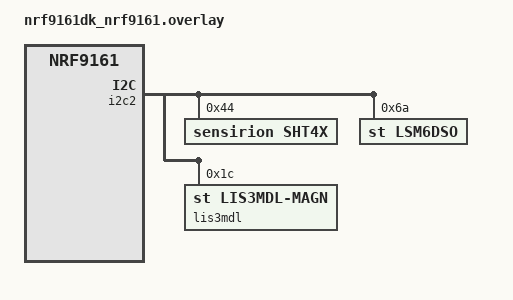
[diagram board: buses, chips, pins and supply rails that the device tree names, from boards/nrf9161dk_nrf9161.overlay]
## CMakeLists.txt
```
cmake_minimum_required(VERSION 3.13.1)

find_package(Zephyr REQUIRED HINTS $ENV{ZEPHYR_BASE})

project(cores-control LANGUAGES C)

FILE(GLOB app_sources src/*.c)

target_sources(app PRIVATE ${app_sources})

add_subdirectory_ifdef(CONFIG_SENSE_CORE_SENSORS src/sensors)

add_subdirectory(src/datapoint)
add_subdirectory(src/sd_card)
add_subdirectory(src/remote_commands)
```

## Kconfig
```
menu "Zephyr"
source "Kconfig.zephyr"
endmenu

menu "SENSE IoT Control Core"

rsource "src/sensors/Kconfig"
rsource "src/sd_card/Kconfig"

endmenu
```

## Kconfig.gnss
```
#
# Copyright (c) 2020 Nordic Semiconductor ASA
#
# SPDX-License-Identifier: LicenseRef-Nordic-5-Clause
#

menu "GNSS Settings"

config APP_USE_GNSS
	bool "Enable the GNSS module."
	default "y"

config APP_GNSS_DEFAULT_FIX_INTERVAL
	int "Fix interval for periodic fixes"
	range 10 65535
	default 120
	help
	  Fix interval (in seconds) for periodic fixes.

config APP_GNSS_DEFAULT_PERIODIC_TIMEOUT
	int "Fix timeout for periodic fixes"
	range 0 65535
	default 60
	help
	  Fix timeout (in seconds) for periodic fixes.
	  If set to zero, GNSS is allowed to run indefinitely until a valid PVT estimate is produced.

module = APP_GNSS
module-str = Control core GNSS module
source "${ZEPHYR_BASE}/subsys/logging/Kconfig.template.log_config"

endmenu
```

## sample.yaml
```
sample:
  description: SENSE Control Core
  name: cores-control
common:
  sysbuild: true
  build_only: true
  integration_platforms:
    - sense_core/nrf9161/ns
  extra_overlay_confs:
    - rtt.conf
tests:
  app.default:
    build_only: true
  app.debug:
    build_only: true
    extra_overlay_confs:
      - debug.conf
```

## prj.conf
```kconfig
CONFIG_CBPRINTF_FP_SUPPORT=y
CONFIG_I2C=y
CONFIG_SENSOR=y

CONFIG_SHELL=y

CONFIG_HEARTBEAT=y

CONFIG_ICMP=y
CONFIG_ICMP_PHY_UART=y
CONFIG_ICMP_LOG_LEVEL_OFF=y

CONFIG_CZD=y
CONFIG_CZD_DATAPOINT=y
CONFIG_CZD_COMMAND=y

CONFIG_CELLULAR=y
CONFIG_CELLULAR_BACKEND_NRF=y
CONFIG_CELLULAR_THREAD_STACK_SIZE=2048
CONFIG_CELLULAR_LOG_LEVEL_INF=y
CONFIG_REMOTE_SERVER_HOSTNAME="demo.snse.dev"
CONFIG_REMOTE_SERVER_PORT=5683

CONFIG_COAP_LIB=y

# -------- GNSS ---------
# General
CONFIG_FPU=y
CONFIG_NRF_MODEM_LIB=y
CONFIG_STDOUT_CONSOLE=y
CONFIG_PICOLIBC_IO_FLOAT=y

# LTE Link Control
CONFIG_LTE_LINK_CONTROL=y
# Request eDRX from the network
CONFIG_LTE_LC_EDRX_MODULE=y
CONFIG_LTE_EDRX_REQ=y
# PSM requested periodic TAU 8 hours
CONFIG_LTE_LC_PSM_MODULE=y
CONFIG_LTE_PSM_REQ_RPTAU="00101000"
# PSM requested active time 6 seconds
CONFIG_LTE_PSM_REQ_RAT="00000011"

# Networking
CONFIG_NETWORKING=y
CONFIG_NET_SOCKETS_OFFLOAD=y
CONFIG_NET_SOCKETS=y
CONFIG_POSIX_API=y

# Disable native network stack to save some memory
CONFIG_NET_NATIVE=n

# Time
CONFIG_DATE_TIME=y
CONFIG_DATE_TIME_NTP=y

# Memory and stack configuration
CONFIG_HEAP_MEM_POOL_SIZE=2048
CONFIG_MAIN_STACK_SIZE=4096
CONFIG_SYSTEM_WORKQUEUE_STACK_SIZE=4096
```

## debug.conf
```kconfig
# Debugging
CONFIG_DEBUG_OPTIMIZATIONS=y
CONFIG_CORTEX_M_DEBUG_MONITOR_HOOK=y
CONFIG_SEGGER_DEBUGMON=y
CONFIG_DEBUG_THREAD_INFO=y

# Logging
CONFIG_LOG=y
CONFIG_SENSOR_LOG_LEVEL_INF=y
```

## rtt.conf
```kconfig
# RTT
CONFIG_USE_SEGGER_RTT=y
CONFIG_CONSOLE=y
CONFIG_RTT_CONSOLE=y
CONFIG_UART_CONSOLE=n
CONFIG_SHELL_BACKEND_RTT=y
CONFIG_ASSERT=y
```

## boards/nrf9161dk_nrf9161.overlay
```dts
/ {
	aliases {
		heartbeat-gpio = &led0;
	};

};

&i2c2 {
    // SHT40
	sht4x@44 {
		status = "okay";
		compatible = "sensirion,sht4x";
		reg = <0x44>;
		repeatability = <2>;
	};

	lsm6dso: lsm6dso@6a {
		compatible = "st,lsm6dso";
		reg = <0x6a>;
	};

	lis3mdl: lis3mdl@1c {
		compatible = "st,lis3mdl-magn";
		reg = <0x1c>;
	};
};
```

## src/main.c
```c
#include <stdint.h>
#include <zephyr/kernel.h>
#include <zephyr/device.h>
#include <zephyr/drivers/sensor.h>
#include <zephyr/logging/log.h>

#include <app_version.h>
#include <zephyr/drivers/sensor/sht4x.h>

#include <lib/icmp.h>
#include <lib/heartbeat.h>
#include <lib/cellular.h>

#include <sd_card.h>

#include "state.h"

#ifdef CONFIG_SENSE_CORE_SENSORS
#include "sensors/sensors.h"
#endif /* CONFIG_SENSE_CORE_SENSORS */

#include <remote_commands.h>

LOG_MODULE_REGISTER(main, LOG_LEVEL_ERR);

#ifdef CONFIG_ICMP
void icmp_test_cb(const uint8_t *payload, size_t payload_len)
{
    LOG_INF("ICMP payload received: %s", payload);
}
#endif /* CONFIG_ICMP */

int main(void)
{
	printk("SENSE Control Core version %s\n", APP_VERSION_STRING);

    struct state *state = state_get();

    state_lock(K_FOREVER);

#ifdef CONFIG_HEARTBEAT
    /* Initialise and start the heartbeat */
    if (heartbeat_init_start(K_MSEC(CONFIG_HEARTBEAT_DEFAULT_DURATION))) {
        LOG_ERR("Failed to initialise heartbeat.");
        state->heartbeat_state = INIT_FAILED;
    }
    state->heartbeat_state = OK;

#endif /* CONFIG_HEARTBEAT */

    state_unlock();

#ifdef CONFIG_SD_CARD_WRITER
    sd_writer_init();
#endif /* CONFIG_SD_CARD_WRITER */

#ifdef CONFIG_SENSE_CORE_SENSORS
    sensors_init();
#endif

#ifdef CONFIG_CELLULAR
    if (cellular_init(remote_commands_handle_packet) != 0) {
        LOG_ERR("Cellular init failed");
    }
#endif

    remote_commands_init();

#ifdef CONFIG_ICMP
    icmp_register_target(0, icmp_test_cb);
    icmp_init();

    uint8_t payload[6] = {'n', 'r', 'f', '9', '1', '\0'};
#endif /* CONFIG_ICMP */

    while (1) {

#ifdef CONFIG_ICMP
        /* Send icmp notification */
        icmp_notify(0, payload, 6);
#endif /* CONFIG_ICMP */

        k_sleep(K_MSEC(1000));
    }

    return 0;
}
```

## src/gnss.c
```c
#include <zephyr/kernel.h>
#include <zephyr/logging/log.h>
#include <nrf_modem_gnss.h>
#include <modem/lte_lc.h>
#include <modem/nrf_modem_lib.h>

#include "state.h"

#ifdef CONFIG_APP_USE_GNSS

LOG_MODULE_REGISTER(gnss, CONFIG_APP_GNSS_LOG_LEVEL);

static struct nrf_modem_gnss_pvt_data_frame last_pvt;

/* Internal state tracking */
#define GNSS_STATE_SEARCH   0
#define GNSS_STATE_SLEEP   1

static volatile uint8_t gnss_internal_state = GNSS_STATE_SEARCH;

/* Use a semaphore to signal GNSS data availability */
static K_SEM_DEFINE(pvt_data_sem, 0, 1);

static void gnss_event_handler(int event)
{
    int retval;

    switch (event) {
    /* The EVT_PVT event is sent every second while the modem is running. */
    case NRF_MODEM_GNSS_EVT_PVT:
        retval = nrf_modem_gnss_read(&last_pvt, sizeof(last_pvt),
                                     NRF_MODEM_GNSS_DATA_PVT);
        if (retval == 0)
            k_sem_give(&pvt_data_sem);
        break;

    /* The EVT_FIX event is sent only when a fix is acquired. */
    case NRF_MODEM_GNSS_EVT_FIX:
        retval = nrf_modem_gnss_read(&last_pvt, sizeof(last_pvt),
                                     NRF_MODEM_GNSS_DATA_PVT);
        if (retval == 0)
            k_sem_give(&pvt_data_sem);
        break;

    case NRF_MODEM_GNSS_EVT_PERIODIC_WAKEUP:
        LOG_INF("GNSS modem waking from periodic sleep.");
        gnss_internal_state = GNSS_STATE_SEARCH;
        break;

    case NRF_MODEM_GNSS_EVT_SLEEP_AFTER_TIMEOUT:
        LOG_INF("GNSS modem sleeping after periodic mode fix timeout.");
        gnss_internal_state = GNSS_STATE_SLEEP;
        break;

    case NRF_MODEM_GNSS_EVT_SLEEP_AFTER_FIX:
        LOG_INF("GNSS modem sleeping after periodic mode fix acquired.");
        gnss_internal_state = GNSS_STATE_SLEEP;
        break;

    default:
        break;
    }
}

static int gnss_init_and_start(struct state *state)
{
    if (lte_lc_func_mode_set(LTE_LC_FUNC_MODE_ACTIVATE_GNSS) != 0) {
        LOG_ERR("Failed to activate GNSS functional mode");
        return -1;
    }

    if (nrf_modem_gnss_event_handler_set(gnss_event_handler) != 0) {
        LOG_ERR("Failed to set GNSS event handler");
        return -1;
    }

    /* This use case flag is required by default. */
    uint8_t use_case = NRF_MODEM_GNSS_USE_CASE_MULTIPLE_HOT_START;

    if (nrf_modem_gnss_use_case_set(use_case) != 0) {
        LOG_WRN("Failed to set GNSS use case");
    }

    state->gnss_fix_retry_period = CONFIG_APP_GNSS_DEFAULT_PERIODIC_TIMEOUT;
    state->gnss_fix_interval = CONFIG_APP_GNSS_DEFAULT_FIX_INTERVAL;

    /* Give the GNSS receiver fix_retry seconds to find a fix.
     * NOTE: Until the modem finds its first fix, the fix_retry period will
     * remain 60 seconds. If the value is set to 0, then it will search
     * indefinitely*/
    if (nrf_modem_gnss_fix_retry_set(state->gnss_fix_retry_period) != 0) {
        LOG_ERR("Failed to set GNSS fix retry");
        return -1;
    }

    /* Look for a fix every fix_interval seconds.
     * NOTE: it appears that if the the first fix hasn't been found, then
     * the fix interval time is given by:
     *     next_wake_time = current_time + (fix_interval - fix_retry)
     * Otherwise, the modem appears to respect the fix interval, with some
     * understandable RTC skew */
    if (nrf_modem_gnss_fix_interval_set(state->gnss_fix_interval) != 0) {
        LOG_ERR("Failed to set GNSS fix interval");
        return -1;
    }

    state->gnss_last_update_time = 0;

    if (nrf_modem_gnss_start() != 0) {
        LOG_ERR("Failed to start GNSS");
        return -1;
    }

    return 0;
}

static void log_satellite_stats(struct nrf_modem_gnss_pvt_data_frame *pvt_data)
{
    uint8_t tracked   = 0;
    uint8_t in_fix    = 0;
    uint8_t unhealthy = 0;

    for (int i = 0; i < NRF_MODEM_GNSS_MAX_SATELLITES; ++i) {
        if (pvt_data->sv[i].sv > 0) {
            tracked++;

            if (pvt_data->sv[i].flags & NRF_MODEM_GNSS_SV_FLAG_USED_IN_FIX) {
                in_fix++;
            }

            if (pvt_data->sv[i].flags & NRF_MODEM_GNSS_SV_FLAG_UNHEALTHY) {
                unhealthy++;
            }
        }
    }
    LOG_DBG("Tracking: %2d Using: %2d Unhealthy: %d\n",
            tracked, in_fix, unhealthy);
}

static void process_fix_data(struct nrf_modem_gnss_pvt_data_frame *pvt_data,
                             struct state *s)
{
    /* Push PVT data to system state struct */
    s->gnss_latitude = pvt_data->latitude;
    s->gnss_longitude = pvt_data->longitude;
    s->gnss_accuracy = pvt_data->accuracy;
    s->gnss_altitude = pvt_data->altitude;
    s->gnss_altitude_accuracy = pvt_data->altitude_accuracy;
    s->gnss_speed = pvt_data->speed;
    s->gnss_speed_accuracy = pvt_data->speed_accuracy;
    s->gnss_vertical_speed = pvt_data->vertical_speed;
    s->gnss_vertical_speed_accuracy = pvt_data->vertical_speed_accuracy;
    s->gnss_heading = pvt_data->heading;
    s->gnss_heading_accuracy = pvt_data->heading_accuracy;

    LOG_INF("Latitude           %.06f", pvt_data->latitude);
    LOG_INF("Longitude:         %.06f", pvt_data->longitude);
    LOG_INF("Accuracy:          %.01f m", (double)pvt_data->accuracy);
    LOG_DBG("Altitude:          %.01f m", (double)pvt_data->altitude);
    LOG_DBG("Altitude accuracy: %.01f m", (double)pvt_data->altitude_accuracy);
    LOG_DBG("Speed:             %.01f m/s", (double)pvt_data->speed);
    LOG_DBG("Speed accuracy:    %.01f m/s", (double)pvt_data->speed_accuracy);
    LOG_DBG("V. speed:          %.01f m/s", (double)pvt_data->vertical_speed);
    LOG_DBG("V. speed accuracy: %.01f m/s", (double)pvt_data->vertical_speed_accuracy);
    LOG_DBG("Heading:           %.01f deg", (double)pvt_data->heading);
    LOG_DBG("Heading accuracy:  %.01f deg", (double)pvt_data->heading_accuracy);
    LOG_DBG("Date:              %04u-%02u-%02u",
           pvt_data->datetime.year,
           pvt_data->datetime.month,
           pvt_data->datetime.day);
    LOG_DBG("Time (UTC):        %02u:%02u:%02u.%03u",
           pvt_data->datetime.hour,
           pvt_data->datetime.minute,
           pvt_data->datetime.seconds,
           pvt_data->datetime.ms);
}

int gnss_init(struct state *state)
{
    int err;

    LOG_INF("Initialsing GNSS");

    err = nrf_modem_lib_init();
    if (err) {
        LOG_ERR("Modem library initialisation failed, error: %d", err);
        return err;
    }

    if (gnss_init_and_start(state) != 0) {
        LOG_ERR("Failed to initialise and start GNSS");
        return -1;
    }

    return 0;
}

void poll_gnss(struct state *state)
{
    if (gnss_internal_state == GNSS_STATE_SLEEP)
        return;

    while (k_sem_take(&pvt_data_sem, K_NO_WAIT) == 0) {
        log_satellite_stats(&last_pvt);

        if (last_pvt.flags & NRF_MODEM_GNSS_PVT_FLAG_FIX_VALID) {
            LOG_INF("Updating GNSS data.");
            process_fix_data(&last_pvt, state);
            state->gnss_last_update_time = k_uptime_get();
        } else if (last_pvt.flags & NRF_MODEM_GNSS_PVT_FLAG_SCHED_DOWNLOAD) {
            LOG_INF("GNSS scheduled download in progress.");
        } else if (last_pvt.flags & NRF_MODEM_GNSS_PVT_FLAG_DEADLINE_MISSED) {
            LOG_WRN("GNSS operation blocked by LTE\n");
        } else if (last_pvt.flags & NRF_MODEM_GNSS_PVT_FLAG_NOT_ENOUGH_WINDOW_TIME) {
            LOG_WRN("Insufficient GNSS time windows\n");
        } else {
            LOG_INF("GNSS attempting to acquire fix...");
        }
    }
}

#endif /* CONFIG_APP_USE_GNSS */
```

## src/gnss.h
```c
#ifndef GNSS_H_
#define GNSS_H_

#include "state.h"

#ifdef CONFIG_APP_USE_GNSS
int gnss_init(struct state *state);

void poll_gnss(struct state *state);
#endif /* CONFIG_APP_USE_GNSS */

#endif /* GNSS_H_ */
```

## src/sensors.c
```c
#include <zephyr/kernel.h>
#include <zephyr/device.h>
#include <zephyr/drivers/sensor.h>
#include <zephyr/logging/log.h>

#include "sensors.h"
#include "state.h"

#ifdef CONFIG_APP_USE_SENSORS

LOG_MODULE_REGISTER(sensors, CONFIG_APP_LOG_LEVEL);

#ifdef CONFIG_APP_USE_SHT40
#include <zephyr/drivers/sensor/sht4x.h>

#if !DT_HAS_COMPAT_STATUS_OKAY(sensirion_sht4x)
#error "No sensirion,sht4x compatible node found in the device tree"
#endif

const struct device *const sht = DEVICE_DT_GET_ANY(sensirion_sht4x);
#endif

#ifdef CONFIG_APP_USE_IMU

#if !DT_HAS_COMPAT_STATUS_OKAY(st_lsm6dso)
#error "No st,lsm6dso compatible node found in the device tree"
#endif

#if !DT_HAS_COMPAT_STATUS_OKAY(st_lis3mdl_magn)
#error "No st,lis3mdl compatible node found in the device tree"
#endif

const struct device *const lsm = DEVICE_DT_GET_ANY(st_lsm6dso);
const struct device *const lis = DEVICE_DT_GET_ANY(st_lis3mdl_magn);
#endif

K_MSGQ_DEFINE(sensor_msgq, sizeof(struct sensor_reading), 5, 1);

#ifdef CONFIG_APP_USE_SHT40
int sht4x_init(void)
{
    if (!device_is_ready(sht)) {
		LOG_ERR("Device %s is not ready.", sht->name);
        return 1;
    }

    return 0;
}

void sht4x_poll_work_handler(struct k_work *work)
{
    struct sensor_value temp, hum;
    struct sensor_reading sr = {0};
    int err = 0;

    sr.type = SENSOR_PKT_SHT;

    err = sensor_sample_fetch(sht);
    if (err != 0) {
        LOG_ERR("Failed to fetch sample from SHT4X device");
        goto fail;
    }

    sensor_channel_get(sht, SENSOR_CHAN_AMBIENT_TEMP, &temp);
    sensor_channel_get(sht, SENSOR_CHAN_HUMIDITY, &hum);

    sr.temp = sensor_value_to_double(&temp),
    sr.hum = sensor_value_to_double(&hum);

    k_msgq_put(&sensor_msgq, &sr, K_NO_WAIT);
    return;

fail:
    sr.err = 1;
    k_msgq_put(&sensor_msgq, &sr, K_NO_WAIT);
    return;
}

K_WORK_DEFINE(sht4x_poll_work, sht4x_poll_work_handler);

void sht4x_poll(void)
{
    k_work_submit(&sht4x_poll_work);
}
#endif /* CONFIG_APP_USE_SHT40 */

#ifdef CONFIG_APP_USE_IMU
int imu_init(void)
{
    if (!device_is_ready(lsm)) {
		LOG_ERR("Device %s is not ready.", lsm->name);
        return 1;
    }

    if (!device_is_ready(lis)) {
		LOG_ERR("Device %s is not ready.", lis->name);
        return 1;
	}

    return 0;
}

/** NOTE: lis3mdl does not support runtime ODR changes. Instead it is
 *  configured via Kconfig CONFIG_LIS3MDL_ODR. I may patch the driver and
 *  add support for this when I get the chance.
 */
int imu_set_sampling_frequency(double freq)
{
    int err = 0;
    struct sensor_value imu_freq;
    sensor_value_from_double(&imu_freq, freq);

    err = sensor_attr_set(lsm,
                          SENSOR_CHAN_ACCEL_XYZ,
                          SENSOR_ATTR_SAMPLING_FREQUENCY,
                          &imu_freq);
    if (err != 0) {
        LOG_ERR("Cannot set accelerometer sampling frequency.");
        return err;
    }

    err = sensor_attr_set(lsm,
                          SENSOR_CHAN_GYRO_XYZ,
                          SENSOR_ATTR_SAMPLING_FREQUENCY,
                          &imu_freq);
    if (err != 0) {
        LOG_ERR("Cannot set gyroscope sampling frequency.");
        return err;
    }

    return 0;
}

void imu_poll_work_handler(struct k_work *work)
{
    struct sensor_value x, y, z;
    struct sensor_reading sr = {0};
    int err = 0;

    sr.type = SENSOR_PKT_IMU;

    err = sensor_sample_fetch_chan(lsm, SENSOR_CHAN_ACCEL_XYZ);
    if (err != 0) {
        LOG_ERR("Failed to fetch accelerometer channel from LSM6DSO device");
        goto fail;
    }

    sensor_channel_get(lsm, SENSOR_CHAN_ACCEL_X, &x);
    sensor_channel_get(lsm, SENSOR_CHAN_ACCEL_Y, &y);
    sensor_channel_get(lsm, SENSOR_CHAN_ACCEL_Z, &z);

    sr.accel_x = sensor_value_to_double(&x);
    sr.accel_y = sensor_value_to_double(&y);
    sr.accel_z = sensor_value_to_double(&z);

    err = sensor_sample_fetch_chan(lsm, SENSOR_CHAN_GYRO_XYZ);
    if (err != 0) {
        LOG_ERR("Failed to fetch gyroscope channel from LSM6DSO device");
        goto fail;
    }

    sensor_channel_get(lsm, SENSOR_CHAN_GYRO_X, &x);
    sensor_channel_get(lsm, SENSOR_CHAN_GYRO_Y, &y);
    sensor_channel_get(lsm, SENSOR_CHAN_GYRO_Z, &z);

    sr.gyro_x = sensor_value_to_double(&x);
    sr.gyro_y = sensor_value_to_double(&y);
    sr.gyro_z = sensor_value_to_double(&z);

    err = sensor_sample_fetch_chan(lis, SENSOR_CHAN_MAGN_XYZ);
    if (err != 0) {
        LOG_ERR("Failed to fetch magnetometer channel from LIS3MDL device");
        goto fail;
    }

    sensor_channel_get(lis, SENSOR_CHAN_MAGN_X, &x);
    sensor_channel_get(lis, SENSOR_CHAN_MAGN_Y, &y);
    sensor_channel_get(lis, SENSOR_CHAN_MAGN_Z, &z);

    sr.mag_x = sensor_value_to_double(&x);
    sr.mag_y = sensor_value_to_double(&y);
    sr.mag_z = sensor_value_to_double(&z);

    k_msgq_put(&sensor_msgq, &sr, K_NO_WAIT);
    return;

fail:
    sr.err = 1;
    k_msgq_put(&sensor_msgq, &sr, K_NO_WAIT);
    return;
}

K_WORK_DEFINE(imu_poll_work, imu_poll_work_handler);

void imu_poll(void)
{
    k_work_submit(&imu_poll_work);
}
#endif /* CONFIG_APP_USE_IMU */


int sensor_reading_get(void *data, k_timeout_t timeout)
{
    return k_msgq_get(&sensor_msgq, data, timeout);
}

void poll_sensors(struct state *state)
{
    struct sensor_reading sr = {0};
    sr.err = 1;

    /* Attempt to get sensor readings */
    while (sensor_reading_get(&sr, K_NO_WAIT) == 0) {
        if (sr.err)
            LOG_ERR("Error getitng sensor values\n");

#ifdef CONFIG_APP_USE_SHT40
        else if (sr.type == SENSOR_PKT_SHT) {
            state->sht_temp = sr.temp;
            state->sht_hum = sr.hum;
            LOG_INF("SHT state updated.");
            LOG_DBG("SHT40: Temp: %.2f C  RH: %0.2f %%\n",
                    sr.temp, sr.hum);
        }
#endif /* CONFIG_APP_USE_SHT40 */

#ifdef CONFIG_APP_USE_IMU
        else if (sr.type ==  SENSOR_PKT_IMU) {
            state->imu_accel_x = sr.accel_x;
            state->imu_accel_y = sr.accel_y;
            state->imu_accel_z = sr.accel_z;
            state->imu_gyro_x = sr.gyro_x;
            state->imu_gyro_y = sr.gyro_y;
            state->imu_gyro_z = sr.gyro_z;
            state->imu_mag_x = sr.mag_x;
            state->imu_mag_y = sr.mag_y;
            state->imu_mag_z = sr.mag_z;
            LOG_INF("IMU state updated.");
            LOG_DBG("IMU: Accel: x = %.2f  y = %.2f  z = %.2f\n"
                    "      Gyro: x = %.2f  y = %.2f  z = %.2f\n"
                    "       Mag: x = %.2f  y = %.2f  z = %.2f\n",
                    sr.accel_x, sr.accel_y, sr.accel_z,
                    sr.gyro_x, sr.gyro_y, sr.gyro_z,
                    sr.mag_x, sr.mag_y, sr.mag_z);

        }
#endif /* CONFIG_APP_USE_IMU */
    }

#ifdef CONFIG_APP_USE_SHT40
    /* Poll the SHT sensor if it is working and the specified poll duration has
     * passed. Note that the state->sht_last_update_tick corresponds to the
     * last requested update time (subbmission to work queue), and not the time
     * the polling work item was fulfilled */
    if (state->sht_state == OK &&
        k_uptime_get() - state->sht_last_update_tick >= state->sht_poll_freq) {
        LOG_INF("Polling SHT");
        state->sht_last_update_tick = k_uptime_get();
        sht4x_poll();
    }
#endif /* CONFIG_APP_USE_SHT40 */

#ifdef CONFIG_APP_USE_IMU
    /* Poll the IMU sensors if they are working and the specified poll duration
     * has passed. Note that the state->imu_last_update_tick corresponds to the
     * last requested update time (subbmission to work queue), and not the time
     * the polling work item was fulfilled */
    if (state->imu_state == OK &&
        k_uptime_get() - state->imu_last_update_tick >= state->imu_poll_freq) {
        LOG_INF("Polling IMU");
        state->imu_last_update_tick = k_uptime_get();
        imu_poll();
    }
#endif /* CONFIG_APP_USE_IMU */
}

#endif /* CONFIG_APP_USE_SENSORS */
```

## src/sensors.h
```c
#ifndef SENSORS_H_
#define SENSORS_H_

#include <zephyr/kernel.h>

#include "state.h"

#ifdef CONFIG_APP_USE_SENSORS

enum sensor_reading_type {
#ifdef CONFIG_APP_USE_SHT40
    SENSOR_PKT_SHT,
#endif
#ifdef CONFIG_APP_USE_IMU
    SENSOR_PKT_IMU,
#endif
    SENSOR_PKT_INVALID
};

typedef struct sensor_reading {
    int err;
    int type;

#ifdef CONFIG_APP_USE_SHT40
    double hum;
    double temp;
#endif

#ifdef CONFIG_APP_USE_IMU
    double accel_x;
    double accel_y;
    double accel_z;

    double gyro_x;
    double gyro_y;
    double gyro_z;

    double mag_x;
    double mag_y;
    double mag_z;
#endif

} sensor_reading_t;

#ifdef CONFIG_APP_USE_SHT40
int sht4x_init(void);
void sht4x_poll(void);
#endif

#ifdef CONFIG_APP_USE_IMU
int imu_init(void);
int imu_set_sampling_frequency(double freq);
void imu_poll(void);
#endif

int sensor_reading_get(void *data, k_timeout_t timeout);

void poll_sensors(struct state *state);

#endif /* CONFIG_APP_USE_SENSORS */

#endif /* SENSORS_H_ */
```

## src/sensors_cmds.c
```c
#include <stdlib.h>
#include <zephyr/kernel.h>
#include <zephyr/logging/log.h>
#include <zephyr/shell/shell.h>

#include "state.h"

LOG_MODULE_REGISTER(sensors_cmds);

#define UNSUPPORTED_FEATURE_STRING "Feature is not enabled."

/* Macro for early return in shell fns if features are not supported. */
#define RETURN_IF_FEATURE_DISABLED(CONFIG_FEATURE) \
    if (!IS_ENABLED(CONFIG_FEATURE)) { \
        shell_print(sh, UNSUPPORTED_FEATURE_STRING); \
        return 1; \
    }

/* We use a timeout to avoid blocking the shell thread indefinitely, improving
 * the user experience when the system is under heavy load. */
#define SHELL_STATE_LOCK_TIMEOUT   100
#define STATE_LOCK_FAILURE_STRING  "Resource is temporarily unavailable. " \
                                   "Try again shortly."

/* Macro for early return in shell fns if the state mutex is unavailable. */
#define RETURN_IF_STATE_LOCK_FAILED() \
    if (state_lock(K_MSEC(SHELL_STATE_LOCK_TIMEOUT)) != 0) { \
        shell_print(sh, STATE_LOCK_FAILURE_STRING); \
        return 1; \
    }

#ifdef CONFIG_APP_USE_SENSORS
static int64_t parse_poll_freq(const struct shell *sh, size_t argc,
                               char **argv)
{
    if (argc != 2) {
        shell_print(sh,
                    "Usage:\n"
                    "  sensors update %s freq", argv[0]);
        return -1;
    }

    errno = 0;

    int64_t poll_freq = strtoll(argv[1], NULL, 10);
    if (errno || poll_freq < 1) {
        shell_print(sh, "Invalid poll frequency. Value must be in the range "
                        "1-%lld ms.", LLONG_MAX);
        return -1;
    }

    return poll_freq;
}
#endif /* CONFIG_APP_USE_SENSORS */

static int cmd_update_sht_poll_freq(const struct shell *sh, size_t argc,
                                    char **argv)
{
    RETURN_IF_FEATURE_DISABLED(CONFIG_APP_USE_SHT40);

#ifdef CONFIG_APP_USE_SHT40
    int64_t poll_freq = parse_poll_freq(sh, argc, argv);
    if (poll_freq == -1) {
        return 1;
    }

    RETURN_IF_STATE_LOCK_FAILED();

    state_get()->sht_poll_freq = poll_freq;

    state_unlock();

    shell_print(sh, "New SHT40 poll frequency: %lld ms", poll_freq);
#endif /* CONFIG_APP_USE_SHT40 */

    return 0;
}

static int cmd_update_imu_poll_freq(const struct shell *sh, size_t argc,
                                    char **argv)
{
    RETURN_IF_FEATURE_DISABLED(CONFIG_APP_USE_IMU);

#ifdef CONFIG_APP_USE_IMU
    int64_t poll_freq = parse_poll_freq(sh, argc, argv);
    if (poll_freq == -1) {
        return 1;
    }

    RETURN_IF_STATE_LOCK_FAILED();

    state_get()->imu_poll_freq = poll_freq;

    state_unlock();

    shell_print(sh, "New IMU poll frequency: %lld ms", poll_freq);
#endif /* CONFIG_APP_USE_IMU*/

    return 0;
}

/* Create the `sensors update` command set */
SHELL_STATIC_SUBCMD_SET_CREATE(sub_sensors_update_cmds,
    SHELL_CMD(sht_poll_freq, NULL, "Update SHT40 poll frequency.", cmd_update_sht_poll_freq),
    SHELL_CMD(imu_poll_freq, NULL, "Update IMU poll frequency.", cmd_update_imu_poll_freq),
	SHELL_SUBCMD_SET_END
);

static int cmd_show_sht_poll_freq(const struct shell *sh, size_t argc,
                                  char **argv)
{
    ARG_UNUSED(argc);
    ARG_UNUSED(argv);

    RETURN_IF_FEATURE_DISABLED(CONFIG_APP_USE_SHT40);

#ifdef CONFIG_APP_USE_SHT40
    RETURN_IF_STATE_LOCK_FAILED();

    int64_t sht_poll_freq = state_get()->sht_poll_freq;

    state_unlock();

    shell_print(sh, "SHT40 poll frequency: %lld ms", sht_poll_freq);
#endif /* CONFIG_APP_USE_SHT40 */

    return 0;
}

static int cmd_show_sht_temp(const struct shell *sh, size_t argc,
                             char **argv)
{
    ARG_UNUSED(argc);
    ARG_UNUSED(argv);

    RETURN_IF_FEATURE_DISABLED(CONFIG_APP_USE_SHT40);

#ifdef CONFIG_APP_USE_SHT40
    RETURN_IF_STATE_LOCK_FAILED();

    double sht_temp = state_get()->sht_temp;

    state_unlock();

    shell_print(sh, "SHT40 temperature: %0.2f C", sht_temp);
#endif /* CONFIG_APP_USE_SHT40 */

    return 0;
}

static int cmd_show_sht_hum(const struct shell *sh, size_t argc,
                            char **argv)
{
    ARG_UNUSED(argc);
    ARG_UNUSED(argv);

    RETURN_IF_FEATURE_DISABLED(CONFIG_APP_USE_SHT40);

#ifdef CONFIG_APP_USE_SHT40
    RETURN_IF_STATE_LOCK_FAILED();

    double sht_hum = state_get()->sht_hum;

    state_unlock();

    shell_print(sh, "SHT40 humidity: %0.2f %%", sht_hum);
#endif /* CONFIG_APP_USE_SHT40 */

    return 0;
}

static int cmd_show_imu_poll_freq(const struct shell *sh, size_t argc,
                                  char **argv)
{
    ARG_UNUSED(argc);
    ARG_UNUSED(argv);

    RETURN_IF_FEATURE_DISABLED(CONFIG_APP_USE_IMU);

#ifdef CONFIG_APP_USE_IMU
    RETURN_IF_STATE_LOCK_FAILED();

    int64_t imu_poll_freq = state_get()->imu_poll_freq;

    state_unlock();

    shell_print(sh, "IMU poll frequency: %lld ms", imu_poll_freq);
#endif /* CONFIG_APP_USE_IMU */

    return 0;
}

static int cmd_show_imu_accel(const struct shell *sh, size_t argc,
                              char **argv)
{
    ARG_UNUSED(argc);
    ARG_UNUSED(argv);

    RETURN_IF_FEATURE_DISABLED(CONFIG_APP_USE_IMU);

#ifdef CONFIG_APP_USE_IMU
    RETURN_IF_STATE_LOCK_FAILED();

    struct state *state = state_get();

    double x = state->imu_accel_x;
    double y = state->imu_accel_y;
    double z = state->imu_accel_z;

    state_unlock();

    shell_print(sh, "IMU accelerometer: x: %0.2f  y: %0.2f  z: %0.2f", x, y, z);
#endif /* CONFIG_APP_USE_IMU */

    return 0;
}

static int cmd_show_imu_gyro(const struct shell *sh, size_t argc,
                             char **argv)
{
    ARG_UNUSED(argc);
    ARG_UNUSED(argv);

    RETURN_IF_FEATURE_DISABLED(CONFIG_APP_USE_IMU);

#ifdef CONFIG_APP_USE_IMU
    RETURN_IF_STATE_LOCK_FAILED();

    struct state *state = state_get();

    double x = state->imu_gyro_x;
    double y = state->imu_gyro_y;
    double z = state->imu_gyro_z;

    state_unlock();

    shell_print(sh, "IMU gyroscope: x: %0.2f  y: %0.2f  z: %0.2f", x, y, z);
#endif /* CONFIG_APP_USE_IMU */

    return 0;
}

static int cmd_show_imu_mag(const struct shell *sh, size_t argc,
                            char **argv)
{
    ARG_UNUSED(argc);
    ARG_UNUSED(argv);

    RETURN_IF_FEATURE_DISABLED(CONFIG_APP_USE_IMU);

#ifdef CONFIG_APP_USE_IMU
    RETURN_IF_STATE_LOCK_FAILED();

    struct state *state = state_get();

    double x = state->imu_mag_x;
    double y = state->imu_mag_y;
    double z = state->imu_mag_z;

    state_unlock();

    shell_print(sh, "IMU magnetometer: x: %0.2f  y: %0.2f  z: %0.2f", x, y, z);
#endif /* CONFIG_APP_USE_IMU */

    return 0;
}

/* Create the `sensors show` command set. */
SHELL_STATIC_SUBCMD_SET_CREATE(sub_sensors_show_cmds,
    SHELL_CMD(sht_poll_freq, NULL, "Show SHT40 poll frequency.", cmd_show_sht_poll_freq),
    SHELL_CMD(sht_temp, NULL, "Show current SHT40 recorded temperature.", cmd_show_sht_temp),
    SHELL_CMD(sht_hum, NULL, "Show current SHT40 recorded humidity.", cmd_show_sht_hum),
    SHELL_CMD(imu_poll_freq, NULL, "Show IMU poll frequency.", cmd_show_imu_poll_freq),
    SHELL_CMD(imu_accel, NULL, "Show current IMU accelerometer XYZ values.", cmd_show_imu_accel),
    SHELL_CMD(imu_gyro, NULL, "Show current IMU gyroscope XYZ values.", cmd_show_imu_gyro),
    SHELL_CMD(imu_mag, NULL, "Show current IMU magnetometer XYZ values.", cmd_show_imu_mag),
	SHELL_SUBCMD_SET_END
);

/* Attach the `show` and `update` command sets to the `sensors` command. */
SHELL_STATIC_SUBCMD_SET_CREATE(sub_sensors,
	SHELL_CMD(update, &sub_sensors_update_cmds, "Update sensor configurations", NULL),
	SHELL_CMD(show, &sub_sensors_show_cmds, "Show sensor values.", NULL),
	SHELL_SUBCMD_SET_END
);

/* Register the `sensors` root command. */
SHELL_CMD_REGISTER(sensors, &sub_sensors, "Commands for sensors module", NULL);
```

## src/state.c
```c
#include <zephyr/kernel.h>

#include "state.h"

K_MUTEX_DEFINE(system_state_mutex);

struct state system_state;
```

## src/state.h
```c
#ifndef CONTROL_CORE_STATE_H_
#define CONTROL_CORE_STATE_H_

#include <zephyr/kernel.h>

enum state_codes {
    OK = 0,
    INIT_FAILED,
    DATA_ERROR,
    SLEEPING,
};

struct state {
#ifdef CONFIG_HEARTBEAT
    uint8_t heartbeat_state;
#endif
};

/* Global state variable */
extern struct state system_state;

/* Global state lock */
extern struct k_mutex system_state_mutex;

static inline int state_lock(k_timeout_t timeout)
{
    return k_mutex_lock(&system_state_mutex, timeout);
}

static inline int state_unlock(void)
{
    return k_mutex_unlock(&system_state_mutex);
}

static inline struct state *state_get(void)
{
    return &system_state;
}

#endif /* CONTROL_CORE_STATE_H_ */
```
